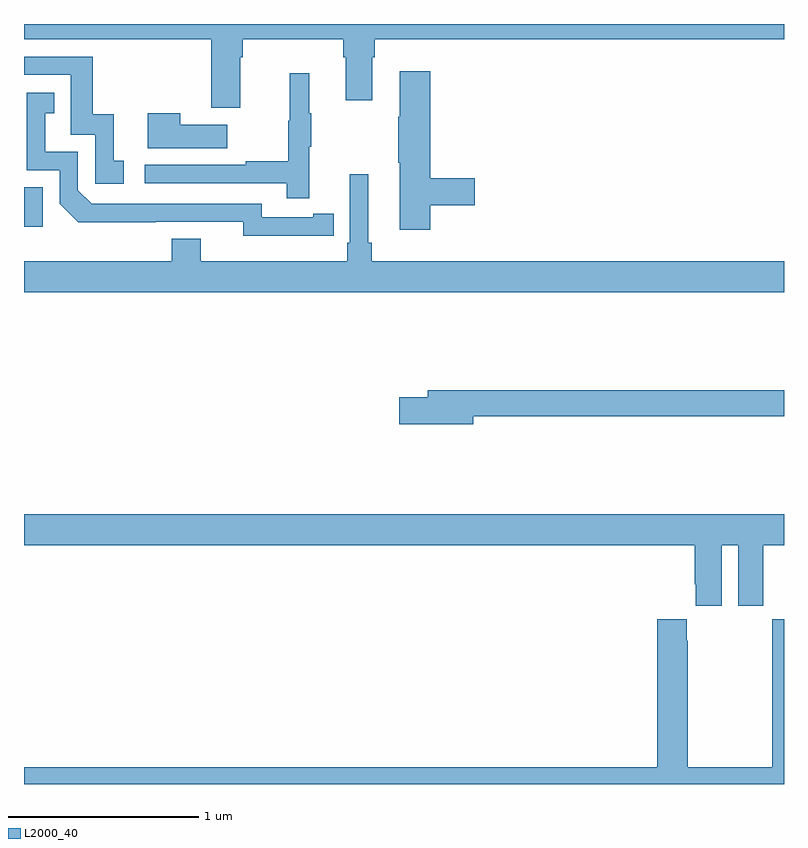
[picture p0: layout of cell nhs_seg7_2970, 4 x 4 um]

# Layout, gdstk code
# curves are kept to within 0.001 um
import gdstk
lib = gdstk.Library(unit=1e-6, precision=1e-09)
def P(c, l, *ps):  # polygons
    for p in ps: c.add(gdstk.Polygon(p, *l))
L2000_40 = (2000, 40)

nhs_seg7_2970 = lib.new_cell('nhs_seg7_2970')
P(nhs_seg7_2970, L2000_40, [(302.137,1029.824),(302.15,1029.824),(302.15,1029.92),(302.681,1029.92),(302.681,1029.824),(302.693,1029.824),(302.693,1029.6),(302.833,1029.6),(302.833,1029.824),(302.846,1029.824),(302.846,1029.92),(305,1029.92),(305,1030),(301,1030),(301,1029.92),(301.985,1029.92),(301.985,1029.558),(302.137,1029.558)],
  [(301.525,1029.279),(301.472,1029.279),(301.472,1029.526),(301.361,1029.526),(301.361,1029.828),(301,1029.828),(301,1029.732),(301.245,1029.732),(301.245,1029.417),(301.374,1029.417),(301.374,1029.159),(301.525,1029.159)],
  [(303.137,1029.046),(303.373,1029.046),(303.373,1029.188),(303.137,1029.188),(303.137,1029.751),(302.978,1029.751),(302.978,1029.512),(302.971,1029.512),(302.971,1029.271),(302.978,1029.271),(302.978,1028.916),(303.137,1028.916)],
  [(302.501,1029.355),(302.512,1029.355),(302.512,1029.529),(302.501,1029.529),(302.501,1029.742),(302.398,1029.742),(302.398,1029.492),(302.391,1029.492),(302.391,1029.278),(302.167,1029.278),(302.167,1029.258),(301.635,1029.258),(301.635,1029.162),(302.383,1029.162),(302.383,1029.084),(302.501,1029.084)],
  [(302.522,1028.886),(302.63,1028.886),(302.63,1029.002),(302.522,1029.002),(302.522,1028.982),(302.25,1028.982),(302.25,1029.054),(301.356,1029.054),(301.284,1029.126),(301.284,1029.327),(301.111,1029.327),(301.111,1029.531),(301.16,1029.531),(301.16,1029.637),(301.014,1029.637),(301.014,1029.231),(301.188,1029.231),(301.188,1029.054),(301.286,1028.957),(302.154,1028.958),(302.154,1028.885)],
  [(302.071,1029.469),(301.823,1029.469),(301.823,1029.529),(301.652,1029.529),(301.652,1029.347),(302.071,1029.347)],
  [(305,1028.752),(302.831,1028.752),(302.831,1028.848),(302.812,1028.848),(302.812,1029.208),(302.715,1029.208),(302.715,1028.848),(302.702,1028.848),(302.702,1028.752),(301.93,1028.752),(301.93,1028.869),(301.778,1028.869),(301.778,1028.752),(301,1028.752),(301,1028.588),(305,1028.588)],
  [(301.098,1029.141),(301,1029.141),(301,1029.045),(301.001,1029.045),(301.001,1028.934),(301.098,1028.934)],
  [(303.364,1027.936),(305,1027.936),(305,1028.072),(303.125,1028.072),(303.125,1028.036),(302.976,1028.036),(302.976,1027.894),(303.364,1027.894)],
  [(304.672,1027.256),(304.76,1027.256),(304.76,1026.939),(304.891,1026.939),(304.891,1027.256),(305,1027.256),(305,1027.42),(301,1027.42),(301,1027.256),(304.529,1027.256),(304.529,1027.051),(304.535,1027.051),(304.535,1026.939),(304.672,1026.939)],
  [(305,1026.868),(304.939,1026.868),(304.939,1026.088),(304.494,1026.088),(304.494,1026.755),(304.489,1026.755),(304.489,1026.868),(304.334,1026.868),(304.334,1026.088),(301,1026.088),(301,1026),(305,1026)])

lib.write_gds('nhs_seg7_2970.gds')
